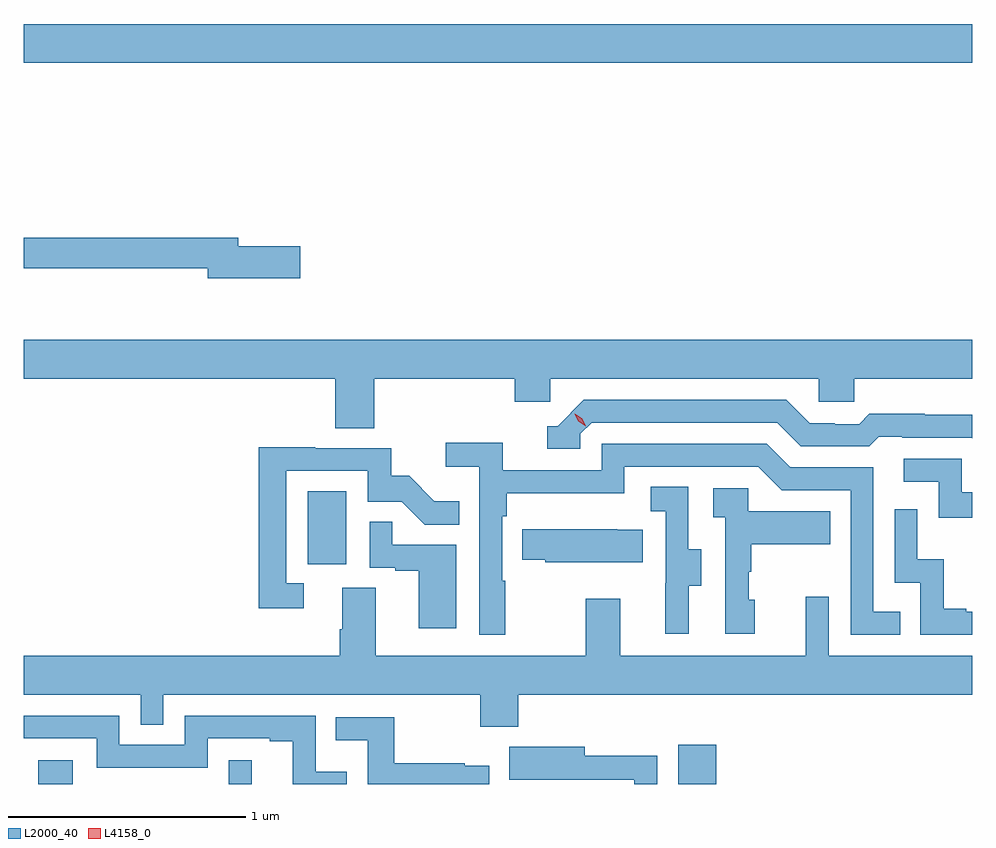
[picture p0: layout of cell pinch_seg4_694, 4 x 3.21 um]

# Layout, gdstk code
import gdstk
lib = gdstk.Library(unit=1e-6, precision=1e-09)
def R(c, l, rs):  # rectangles x0, y0, x1, y1
    for r in rs: c.add(gdstk.rectangle(r[:2], r[2:], *l))
def P(c, l, *ps):  # polygons
    for p in ps: c.add(gdstk.Polygon(p, *l))
L2000_40 = (2000, 40)
L4158_0 = (4158, 0)

pinch_seg4_694 = lib.new_cell('pinch_seg4_694')
R(pinch_seg4_694, L2000_40, [(1089.259,765.807,1089.403,765.907), (1090.062,765.807,1090.159,765.907), (1091.957,765.807,1092.118,765.973), (1090.394,766.734,1090.558,767.041), (1089.197,768.848,1093.197,769.012)])
P(pinch_seg4_694, L2000_40, [(1090.363,768.074),(1090.102,768.074),(1090.102,768.11),(1089.197,768.11),(1089.197,767.982),(1089.974,767.982),(1089.974,767.939),(1090.363,767.939)],
  [(1090.676,767.516),(1091.267,767.516),(1091.267,767.418),(1091.418,767.418),(1091.418,767.516),(1092.549,767.516),(1092.549,767.418),(1092.699,767.418),(1092.699,767.516),(1093.197,767.516),(1093.197,767.68),(1089.197,767.68),(1089.197,767.516),(1090.511,767.516),(1090.511,767.308),(1090.676,767.308)],
  [(1091.544,767.283),(1091.592,767.331),(1092.375,767.331),(1092.474,767.232),(1092.763,767.232),(1092.802,767.271),(1092.901,767.271),(1092.901,767.268),(1093.194,767.268),(1093.197,767.265),(1093.197,767.365),(1092.996,767.365),(1092.996,767.368),(1092.763,767.368),(1092.721,767.325),(1092.618,767.325),(1092.618,767.328),(1092.511,767.328),(1092.412,767.427),(1091.559,767.427),(1091.448,767.316),(1091.405,767.316),(1091.405,767.22),(1091.544,767.22)],
  [(1091.227,766.664),(1091.214,766.664),(1091.214,766.937),(1091.234,766.937),(1091.234,767.033),(1091.73,767.033),(1091.73,767.145),(1092.294,767.145),(1092.393,767.046),(1092.684,767.046),(1092.684,766.437),(1092.893,766.437),(1092.893,766.533),(1092.78,766.533),(1092.78,767.142),(1092.43,767.142),(1092.331,767.241),(1091.634,767.241),(1091.634,767.13),(1091.216,767.13),(1091.216,767.246),(1090.977,767.246),(1090.977,767.144),(1091.118,767.144),(1091.118,766.437),(1091.227,766.437)],
  [(1090.378,766.653),(1090.305,766.653),(1090.305,767.127),(1090.647,767.127),(1090.647,766.998),(1090.791,766.998),(1090.889,766.9),(1091.033,766.9),(1091.033,766.999),(1090.929,766.999),(1090.822,767.106),(1090.746,767.106),(1090.746,767.223),(1090.427,767.223),(1090.427,767.228),(1090.189,767.228),(1090.189,766.548),(1090.378,766.548)],
  [(1093.197,767.037),(1093.152,767.037),(1093.152,767.178),(1092.909,767.178),(1092.909,767.082),(1093.056,767.082),(1093.056,766.929),(1093.197,766.929)],
  [(1092.001,766.642),(1092.055,766.642),(1092.055,766.797),(1092,766.797),(1092,767.06),(1091.841,767.06),(1091.841,766.957),(1091.904,766.957),(1091.904,766.653),(1091.903,766.653),(1091.903,766.44),(1092.001,766.44)],
  [(1092.28,766.584),(1092.255,766.584),(1092.255,766.703),(1092.265,766.703),(1092.265,766.817),(1092.599,766.817),(1092.599,766.957),(1092.252,766.957),(1092.252,767.055),(1092.105,767.055),(1092.105,766.931),(1092.156,766.931),(1092.156,766.44),(1092.28,766.44)],
  [(1093.197,766.533),(1093.171,766.533),(1093.171,766.546),(1093.076,766.546),(1093.076,766.754),(1092.966,766.754),(1092.966,766.966),(1092.87,766.966),(1092.87,766.656),(1092.978,766.656),(1092.978,766.437),(1093.197,766.437)],
  [(1091.02,766.815),(1090.751,766.815),(1090.751,766.913),(1090.656,766.913),(1090.656,766.719),(1090.763,766.719),(1090.763,766.707),(1090.862,766.707),(1090.862,766.464),(1091.02,766.464)],
  [(1091.807,766.879),(1091.699,766.879),(1091.699,766.882),(1091.299,766.882),(1091.299,766.753),(1091.397,766.753),(1091.397,766.742),(1091.807,766.742)],
  [(1090.681,766.634),(1090.541,766.634),(1090.541,766.46),(1090.529,766.46),(1090.529,766.348),(1089.197,766.348),(1089.197,766.184),(1089.69,766.184),(1089.69,766.057),(1089.786,766.057),(1089.786,766.184),(1091.122,766.184),(1091.122,766.049),(1091.282,766.049),(1091.282,766.184),(1093.197,766.184),(1093.197,766.348),(1092.591,766.348),(1092.591,766.597),(1092.494,766.597),(1092.494,766.348),(1091.713,766.348),(1091.713,766.588),(1091.566,766.588),(1091.566,766.348),(1090.681,766.348)],
  [(1090.56,765.859),(1090.428,765.859),(1090.428,766.095),(1089.876,766.095),(1089.876,765.972),(1089.6,765.972),(1089.6,766.095),(1089.197,766.095),(1089.197,765.999),(1089.504,765.999),(1089.504,765.876),(1089.972,765.876),(1089.972,765.999),(1090.235,765.999),(1090.235,765.987),(1090.331,765.987),(1090.331,765.807),(1090.56,765.807)],
  [(1091.16,765.883),(1091.057,765.883),(1091.057,765.895),(1090.759,765.895),(1090.759,766.089),(1090.513,766.089),(1090.513,765.992),(1090.648,765.992),(1090.648,765.807),(1091.16,765.807)],
  [(1091.868,765.926),(1091.563,765.926),(1091.563,765.964),(1091.245,765.964),(1091.245,765.824),(1091.459,765.824),(1091.459,765.825),(1091.772,765.825),(1091.772,765.807),(1091.868,765.807)])
P(pinch_seg4_694, L4158_0, [(1091.567,767.316),(1091.536,767.336),(1091.521,767.369),(1091.521,767.369),(1091.521,767.369),(1091.551,767.349),(1091.567,767.317),(1091.567,767.316)])

lib.write_gds('pinch_seg4_694.gds')
